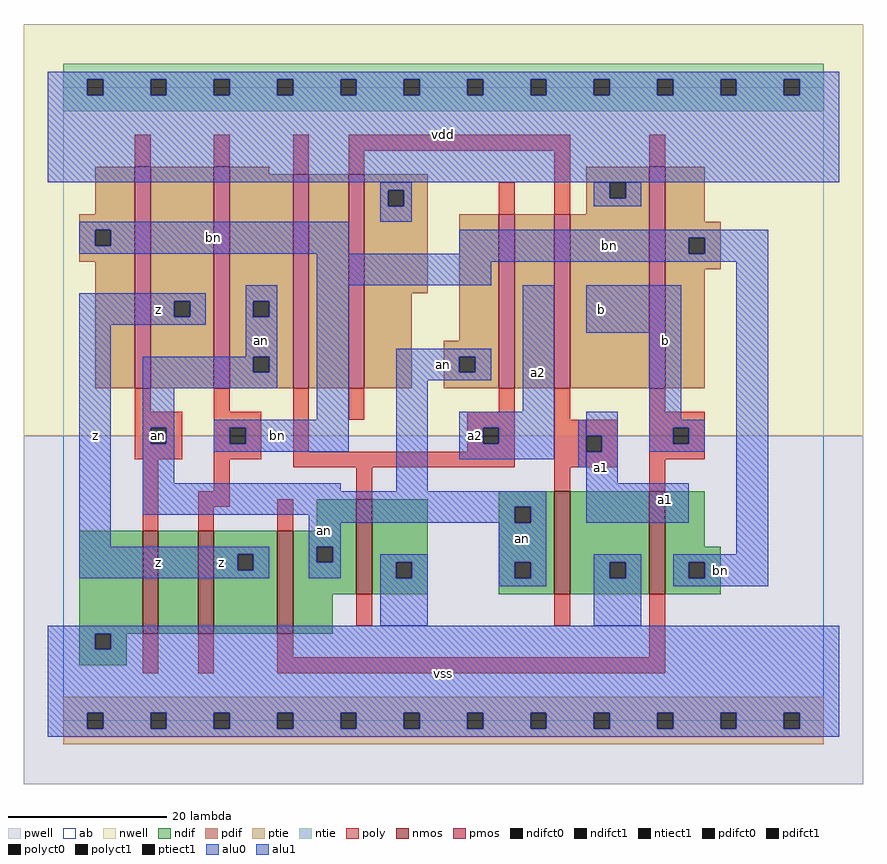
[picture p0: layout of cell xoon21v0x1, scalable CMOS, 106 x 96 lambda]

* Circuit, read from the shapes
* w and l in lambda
.subckt xoon21v0x1 a1 a2 an b bn vdd vss z
M1 n1 an vss vss nfet w=13 l=2
M2 z bn n1 vss nfet w=13 l=2
M3 an b z vss nfet w=13 l=2
M4 vss a2 an vss nfet w=12 l=2
M5 vss a1 an vss nfet w=13 l=2
M6 bn b vss vss nfet w=13 l=2
M7 z an bn vdd pfet w=28 l=2
M8 an bn z vdd pfet w=28 l=2
M9 n2 a2 an vdd pfet w=27 l=2
M10 vdd a1 n2 vdd pfet w=27 l=2
M11 n3 a2 an vdd pfet w=22 l=2
M12 vdd a1 n3 vdd pfet w=22 l=2
M13 bn b vdd vdd pfet w=28 l=2
.ends

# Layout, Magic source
magic
tech scmos
<< ab >>
rect 0 0 96 80
<< nwell >>
rect -5 36 101 88
<< pwell >>
rect -5 -8 101 36
<< poly >>
rect 9 70 11 74
rect 19 70 21 74
rect 29 69 31 74
rect 36 72 64 74
rect 36 69 38 72
rect 55 64 57 68
rect 62 64 64 72
rect 74 70 76 74
rect 9 39 11 42
rect 19 39 21 42
rect 9 37 15 39
rect 9 35 11 37
rect 13 35 15 37
rect 9 33 15 35
rect 19 37 25 39
rect 19 35 21 37
rect 23 35 25 37
rect 19 33 25 35
rect 29 34 31 42
rect 36 38 38 42
rect 55 39 57 42
rect 51 37 57 39
rect 51 35 53 37
rect 55 35 57 37
rect 51 34 57 35
rect 10 24 12 33
rect 19 29 21 33
rect 29 32 57 34
rect 62 38 64 42
rect 74 39 76 42
rect 62 36 70 38
rect 62 34 66 36
rect 68 34 70 36
rect 62 32 70 34
rect 74 37 81 39
rect 74 35 77 37
rect 79 35 81 37
rect 74 33 81 35
rect 17 27 21 29
rect 37 28 39 32
rect 62 29 64 32
rect 74 29 76 33
rect 17 24 19 27
rect 27 24 29 28
rect 37 12 39 16
rect 62 12 64 16
rect 10 6 12 11
rect 17 6 19 11
rect 27 8 29 11
rect 74 8 76 16
rect 27 6 76 8
<< ndif >>
rect 32 24 37 28
rect 2 11 10 24
rect 12 11 17 24
rect 19 21 27 24
rect 19 19 22 21
rect 24 19 27 21
rect 19 11 27 19
rect 29 22 37 24
rect 29 20 32 22
rect 34 20 37 22
rect 29 16 37 20
rect 39 20 46 28
rect 39 18 42 20
rect 44 18 46 20
rect 39 16 46 18
rect 55 27 62 29
rect 55 25 57 27
rect 59 25 62 27
rect 55 20 62 25
rect 55 18 57 20
rect 59 18 62 20
rect 55 16 62 18
rect 64 20 74 29
rect 64 18 69 20
rect 71 18 74 20
rect 64 16 74 18
rect 76 22 81 29
rect 76 20 83 22
rect 76 18 79 20
rect 81 18 83 20
rect 76 16 83 18
rect 29 11 34 16
rect 2 9 4 11
rect 6 9 8 11
rect 2 7 8 9
<< pdif >>
rect 4 64 9 70
rect 2 62 9 64
rect 2 60 4 62
rect 6 60 9 62
rect 2 58 9 60
rect 4 42 9 58
rect 11 53 19 70
rect 11 51 14 53
rect 16 51 19 53
rect 11 42 19 51
rect 21 69 26 70
rect 21 53 29 69
rect 21 51 24 53
rect 26 51 29 53
rect 21 46 29 51
rect 21 44 24 46
rect 26 44 29 46
rect 21 42 29 44
rect 31 42 36 69
rect 38 67 46 69
rect 38 65 41 67
rect 43 65 46 67
rect 38 54 46 65
rect 66 68 74 70
rect 66 66 69 68
rect 71 66 74 68
rect 66 64 74 66
rect 38 42 44 54
rect 50 48 55 64
rect 48 46 55 48
rect 48 44 50 46
rect 52 44 55 46
rect 48 42 55 44
rect 57 42 62 64
rect 64 42 74 64
rect 76 63 81 70
rect 76 61 83 63
rect 76 59 79 61
rect 81 59 83 61
rect 76 57 83 59
rect 76 42 81 57
<< alu1 >>
rect -2 81 98 82
rect -2 79 3 81
rect 5 79 11 81
rect 13 79 19 81
rect 21 79 27 81
rect 29 79 35 81
rect 37 79 43 81
rect 45 79 51 81
rect 53 79 59 81
rect 61 79 67 81
rect 69 79 75 81
rect 77 79 83 81
rect 85 79 91 81
rect 93 79 98 81
rect -2 68 98 79
rect 2 53 18 54
rect 2 51 14 53
rect 16 51 18 53
rect 2 50 18 51
rect 2 22 6 50
rect 58 39 62 55
rect 66 49 78 55
rect 50 37 62 39
rect 50 35 53 37
rect 55 35 62 37
rect 50 33 62 35
rect 66 36 70 39
rect 68 34 70 36
rect 74 38 78 49
rect 74 37 81 38
rect 74 35 77 37
rect 79 35 81 37
rect 74 34 81 35
rect 66 30 70 34
rect 66 25 79 30
rect 2 21 26 22
rect 2 19 22 21
rect 24 19 26 21
rect 2 18 26 19
rect -2 11 98 12
rect -2 9 4 11
rect 6 9 98 11
rect -2 1 98 9
rect -2 -1 3 1
rect 5 -1 11 1
rect 13 -1 19 1
rect 21 -1 27 1
rect 29 -1 35 1
rect 37 -1 43 1
rect 45 -1 51 1
rect 53 -1 59 1
rect 61 -1 67 1
rect 69 -1 75 1
rect 77 -1 83 1
rect 85 -1 91 1
rect 93 -1 98 1
rect -2 -2 98 -1
<< ptie >>
rect 0 1 96 3
rect 0 -1 3 1
rect 5 -1 11 1
rect 13 -1 19 1
rect 21 -1 27 1
rect 29 -1 35 1
rect 37 -1 43 1
rect 45 -1 51 1
rect 53 -1 59 1
rect 61 -1 67 1
rect 69 -1 75 1
rect 77 -1 83 1
rect 85 -1 91 1
rect 93 -1 96 1
rect 0 -3 96 -1
<< ntie >>
rect 0 81 96 83
rect 0 79 3 81
rect 5 79 11 81
rect 13 79 19 81
rect 21 79 27 81
rect 29 79 35 81
rect 37 79 43 81
rect 45 79 51 81
rect 53 79 59 81
rect 61 79 67 81
rect 69 79 75 81
rect 77 79 83 81
rect 85 79 91 81
rect 93 79 96 81
rect 0 77 96 79
<< nmos >>
rect 10 11 12 24
rect 17 11 19 24
rect 27 11 29 24
rect 37 16 39 28
rect 62 16 64 29
rect 74 16 76 29
<< pmos >>
rect 9 42 11 70
rect 19 42 21 70
rect 29 42 31 69
rect 36 42 38 69
rect 55 42 57 64
rect 62 42 64 64
rect 74 42 76 70
<< polyct0 >>
rect 11 35 13 37
rect 21 35 23 37
<< polyct1 >>
rect 53 35 55 37
rect 66 34 68 36
rect 77 35 79 37
<< ndifct0 >>
rect 32 20 34 22
rect 42 18 44 20
rect 57 25 59 27
rect 57 18 59 20
rect 69 18 71 20
rect 79 18 81 20
<< ndifct1 >>
rect 22 19 24 21
rect 4 9 6 11
<< ntiect1 >>
rect 3 79 5 81
rect 11 79 13 81
rect 19 79 21 81
rect 27 79 29 81
rect 35 79 37 81
rect 43 79 45 81
rect 51 79 53 81
rect 59 79 61 81
rect 67 79 69 81
rect 75 79 77 81
rect 83 79 85 81
rect 91 79 93 81
<< ptiect1 >>
rect 3 -1 5 1
rect 11 -1 13 1
rect 19 -1 21 1
rect 27 -1 29 1
rect 35 -1 37 1
rect 43 -1 45 1
rect 51 -1 53 1
rect 59 -1 61 1
rect 67 -1 69 1
rect 75 -1 77 1
rect 83 -1 85 1
rect 91 -1 93 1
<< pdifct0 >>
rect 4 60 6 62
rect 24 51 26 53
rect 24 44 26 46
rect 41 65 43 67
rect 69 66 71 68
rect 50 44 52 46
rect 79 59 81 61
<< pdifct1 >>
rect 14 51 16 53
<< alu0 >>
rect 40 67 44 68
rect 40 65 41 67
rect 43 65 44 67
rect 67 66 69 68
rect 71 66 73 68
rect 67 65 73 66
rect 40 63 44 65
rect 2 62 36 63
rect 2 60 4 62
rect 6 60 36 62
rect 2 59 36 60
rect 50 61 89 62
rect 50 59 79 61
rect 81 59 89 61
rect 32 58 89 59
rect 32 55 54 58
rect 23 53 27 55
rect 23 51 24 53
rect 26 51 27 53
rect 23 46 27 51
rect 10 44 24 46
rect 26 44 27 46
rect 10 42 27 44
rect 10 37 14 42
rect 32 38 36 55
rect 10 35 11 37
rect 13 35 14 37
rect 10 30 14 35
rect 19 37 36 38
rect 19 35 21 37
rect 23 35 36 37
rect 19 34 36 35
rect 42 46 54 47
rect 42 44 50 46
rect 52 44 54 46
rect 42 43 54 44
rect 10 29 35 30
rect 42 29 46 43
rect 65 32 66 38
rect 10 27 61 29
rect 10 26 57 27
rect 31 25 57 26
rect 59 25 61 27
rect 31 22 35 25
rect 31 20 32 22
rect 34 20 35 22
rect 31 18 35 20
rect 40 20 46 21
rect 40 18 42 20
rect 44 18 46 20
rect 40 12 46 18
rect 55 20 61 25
rect 85 21 89 58
rect 55 18 57 20
rect 59 18 61 20
rect 55 17 61 18
rect 67 20 73 21
rect 67 18 69 20
rect 71 18 73 20
rect 67 12 73 18
rect 77 20 89 21
rect 77 18 79 20
rect 81 18 89 20
rect 77 17 89 18
<< labels >>
rlabel polyct0 12 36 12 36 6 an
rlabel alu0 33 24 33 24 6 an
rlabel alu0 27 36 27 36 6 bn
rlabel alu0 25 48 25 48 6 an
rlabel alu0 19 61 19 61 6 bn
rlabel alu0 58 23 58 23 6 an
rlabel alu0 48 45 48 45 6 an
rlabel alu0 83 19 83 19 6 bn
rlabel alu0 69 60 69 60 6 bn
rlabel alu1 12 20 12 20 6 z
rlabel alu1 20 20 20 20 6 z
rlabel alu1 4 36 4 36 6 z
rlabel alu1 12 52 12 52 6 z
rlabel alu1 48 6 48 6 6 vss
rlabel alu1 52 36 52 36 6 a2
rlabel alu1 68 32 68 32 6 a1
rlabel alu1 60 44 60 44 6 a2
rlabel alu1 68 52 68 52 6 b
rlabel alu1 48 74 48 74 6 vdd
rlabel alu1 76 28 76 28 6 a1
rlabel alu1 76 48 76 48 6 b
<< end >>
